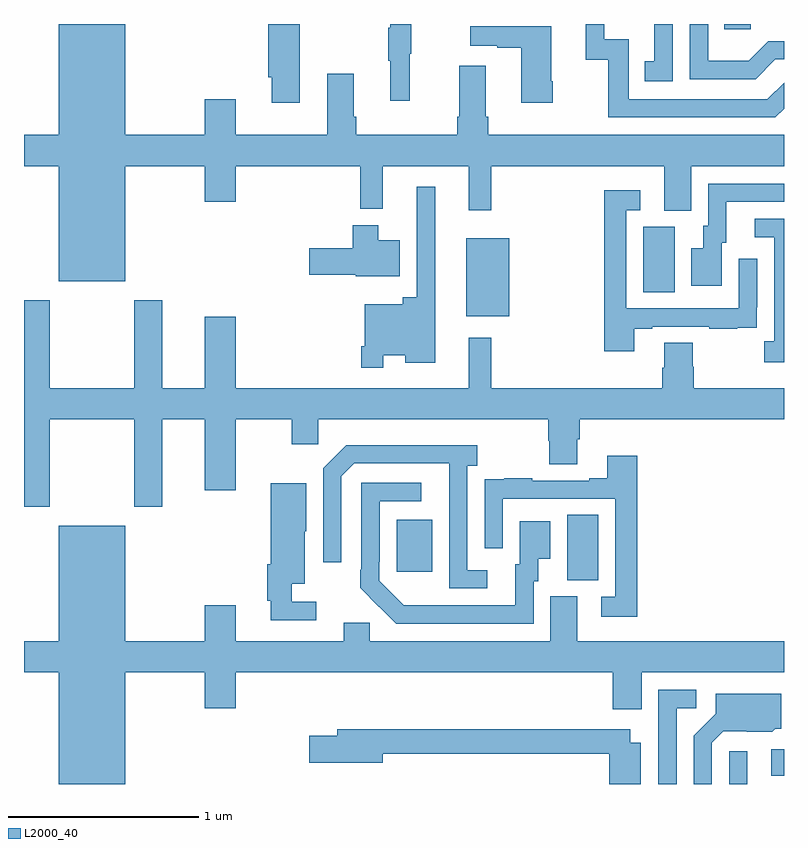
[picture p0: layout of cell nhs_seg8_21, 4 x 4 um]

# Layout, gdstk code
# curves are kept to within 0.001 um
import gdstk
lib = gdstk.Library(unit=1e-6, precision=1e-09)
def R(c, l, rs):  # rectangles x0, y0, x1, y1
    for r in rs: c.add(gdstk.rectangle(r[:2], r[2:], *l))
def P(c, l, *ps):  # polygons
    for p in ps: c.add(gdstk.Polygon(p, *l))
L2000_40 = (2000, 40)

nhs_seg8_21 = lib.new_cell('nhs_seg8_21')
R(nhs_seg8_21, L2000_40, [(114.711,1127.9,114.807,1128.073), (114.933,1127.944,115,1128.084), (113.858,1128.973,114.022,1129.316), (112.961,1129.017,113.149,1129.291), (113.327,1130.363,113.554,1130.773), (114.26,1130.488,114.424,1130.832), (114.685,1131.873,114.825,1131.9)])
P(nhs_seg8_21, L2000_40, [(112.45,1131.9),(112.286,1131.9),(112.286,1131.621),(112.304,1131.621),(112.304,1131.486),(112.45,1131.486)],
  [(114.414,1131.9),(114.317,1131.9),(114.317,1131.705),(114.268,1131.705),(114.268,1131.6),(114.414,1131.6)],
  [(115,1131.454),(115,1131.592),(114.912,1131.504),(114.183,1131.504),(114.183,1131.819),(114.054,1131.819),(114.054,1131.9),(113.957,1131.9),(113.957,1131.711),(114.075,1131.711),(114.075,1131.408),(114.954,1131.408)],
  [(113.03,1131.744),(113.038,1131.744),(113.038,1131.9),(112.928,1131.9),(112.928,1131.881),(112.917,1131.881),(112.917,1131.707),(112.928,1131.707),(112.928,1131.495),(113.03,1131.495)],
  [(114.955,1131.714),(115,1131.714),(115,1131.81),(114.918,1131.81),(114.814,1131.706),(114.6,1131.706),(114.6,1131.9),(114.504,1131.9),(114.504,1131.609),(114.85,1131.609)],
  [(111.532,1131.152),(111.95,1131.152),(111.95,1130.964),(112.114,1130.964),(112.114,1131.152),(112.771,1131.152),(112.771,1130.927),(112.889,1130.927),(112.889,1131.152),(113.342,1131.152),(113.342,1130.919),(113.459,1130.919),(113.459,1131.152),(114.371,1131.152),(114.371,1130.917),(114.511,1130.917),(114.511,1131.152),(115,1131.152),(115,1131.316),(113.444,1131.316),(113.444,1131.412),(113.431,1131.412),(113.431,1131.679),(113.291,1131.679),(113.291,1131.412),(113.279,1131.412),(113.279,1131.316),(112.748,1131.316),(112.748,1131.412),(112.735,1131.412),(112.735,1131.637),(112.595,1131.637),(112.595,1131.316),(112.114,1131.316),(112.114,1131.505),(111.95,1131.505),(111.95,1131.316),(111.532,1131.316),(111.532,1131.9),(111.182,1131.9),(111.182,1131.316),(111,1131.316),(111,1131.152),(111.182,1131.152),(111.182,1130.546),(111.532,1130.546)],
  [(113.784,1131.598),(113.776,1131.598),(113.776,1131.889),(113.349,1131.889),(113.349,1131.785),(113.492,1131.785),(113.492,1131.775),(113.618,1131.775),(113.618,1131.486),(113.784,1131.486)],
  [(114.673,1130.748),(114.697,1130.748),(114.697,1130.964),(115,1130.964),(115,1131.06),(114.6,1131.06),(114.6,1130.838),(114.575,1130.838),(114.575,1130.719),(114.512,1130.719),(114.512,1130.523),(114.673,1130.523)],
  [(112.89,1130.156),(113.006,1130.156),(113.006,1130.117),(113.164,1130.117),(113.164,1131.043),(113.067,1131.043),(113.067,1130.461),(112.994,1130.461),(112.994,1130.425),(112.794,1130.425),(112.794,1130.203),(112.774,1130.203),(112.774,1130.091),(112.89,1130.091)],
  [(114.211,1130.295),(114.307,1130.295),(114.307,1130.307),(114.607,1130.307),(114.607,1130.295),(114.755,1130.295),(114.755,1130.301),(114.857,1130.301),(114.857,1130.41),(114.858,1130.41),(114.858,1130.665),(114.762,1130.665),(114.762,1130.403),(114.171,1130.403),(114.171,1130.919),(114.244,1130.919),(114.244,1131.025),(114.055,1131.025),(114.055,1130.178),(114.211,1130.178)],
  [(115,1130.874),(114.846,1130.874),(114.846,1130.778),(114.948,1130.778),(114.948,1130.23),(114.897,1130.23),(114.897,1130.12),(115,1130.12)],
  [(112.978,1130.761),(112.864,1130.761),(112.864,1130.842),(112.73,1130.842),(112.73,1130.721),(112.5,1130.721),(112.5,1130.579),(112.746,1130.579),(112.746,1130.573),(112.978,1130.573)],
  [(111.135,1129.82),(111.58,1129.82),(111.58,1129.359),(111.727,1129.359),(111.727,1129.82),(111.95,1129.82),(111.95,1129.446),(112.114,1129.446),(112.114,1129.82),(112.409,1129.82),(112.409,1129.689),(112.548,1129.689),(112.548,1129.82),(113.759,1129.82),(113.759,1129.707),(113.764,1129.707),(113.764,1129.582),(113.911,1129.582),(113.911,1129.714),(113.924,1129.714),(113.924,1129.82),(115,1129.82),(115,1129.984),(114.524,1129.984),(114.524,1130.097),(114.519,1130.097),(114.519,1130.222),(114.371,1130.222),(114.371,1130.09),(114.359,1130.09),(114.359,1129.984),(113.459,1129.984),(113.459,1130.248),(113.342,1130.248),(113.342,1129.984),(112.114,1129.984),(112.114,1130.359),(111.95,1130.359),(111.95,1129.984),(111.727,1129.984),(111.727,1130.446),(111.58,1130.446),(111.58,1129.984),(111.135,1129.984),(111.135,1130.446),(111,1130.446),(111,1129.359),(111.135,1129.359)],
  [(113.437,1129.026),(113.334,1129.026),(113.334,1129.574),(113.386,1129.574),(113.386,1129.684),(112.696,1129.684),(112.575,1129.563),(112.575,1129.068),(112.671,1129.068),(112.671,1129.521),(112.737,1129.587),(113.237,1129.587),(113.238,1128.93),(113.437,1128.93)],
  [(114.227,1129.627),(114.071,1129.627),(114.071,1129.51),(113.975,1129.51),(113.975,1129.497),(113.675,1129.497),(113.675,1129.51),(113.527,1129.51),(113.527,1129.503),(113.425,1129.503),(113.425,1129.394),(113.424,1129.394),(113.424,1129.14),(113.52,1129.14),(113.52,1129.401),(114.111,1129.401),(114.111,1128.885),(114.039,1128.885),(114.039,1128.78),(114.227,1128.78)],
  [(113.682,1128.966),(113.707,1128.966),(113.707,1129.085),(113.77,1129.085),(113.77,1129.282),(113.609,1129.282),(113.609,1129.056),(113.585,1129.056),(113.585,1128.84),(112.998,1128.841),(112.869,1128.969),(112.869,1129.069),(112.872,1129.069),(112.872,1129.389),(113.092,1129.389),(113.092,1129.485),(112.776,1129.485),(112.776,1129.027),(112.769,1129.027),(112.769,1128.932),(112.866,1128.834),(112.867,1128.835),(112.958,1128.744),(113.682,1128.744)],
  [(112.537,1128.858),(112.408,1128.858),(112.408,1128.953),(112.477,1128.953),(112.477,1129.23),(112.486,1129.23),(112.486,1129.483),(112.298,1129.483),(112.298,1129.057),(112.279,1129.057),(112.279,1128.865),(112.298,1128.865),(112.298,1128.762),(112.537,1128.762)],
  [(111.532,1128.488),(111.95,1128.488),(111.95,1128.3),(112.114,1128.3),(112.114,1128.488),(114.098,1128.488),(114.098,1128.294),(114.25,1128.294),(114.25,1128.488),(115,1128.488),(115,1128.652),(113.911,1128.652),(113.911,1128.888),(113.771,1128.888),(113.771,1128.652),(112.821,1128.652),(112.821,1128.75),(112.682,1128.75),(112.682,1128.652),(112.114,1128.652),(112.114,1128.841),(111.95,1128.841),(111.95,1128.652),(111.532,1128.652),(111.532,1129.258),(111.182,1129.258),(111.182,1128.652),(111,1128.652),(111,1128.488),(111.182,1128.488),(111.182,1127.9),(111.532,1127.9)],
  [(114.435,1128.3),(114.538,1128.3),(114.538,1128.396),(114.339,1128.396),(114.339,1127.9),(114.435,1127.9)],
  [(114.621,1128.117),(114.681,1128.177),(114.938,1128.176),(114.954,1128.192),(114.985,1128.192),(114.985,1128.376),(114.641,1128.376),(114.641,1128.27),(114.525,1128.154),(114.525,1127.9),(114.621,1127.9)],
  [(114.247,1128.118),(114.19,1128.118),(114.19,1128.187),(112.649,1128.187),(112.649,1128.153),(112.5,1128.153),(112.5,1128.011),(112.888,1128.011),(112.888,1128.058),(114.08,1128.058),(114.08,1127.9),(114.247,1127.9)])

lib.write_gds('nhs_seg8_21.gds')
